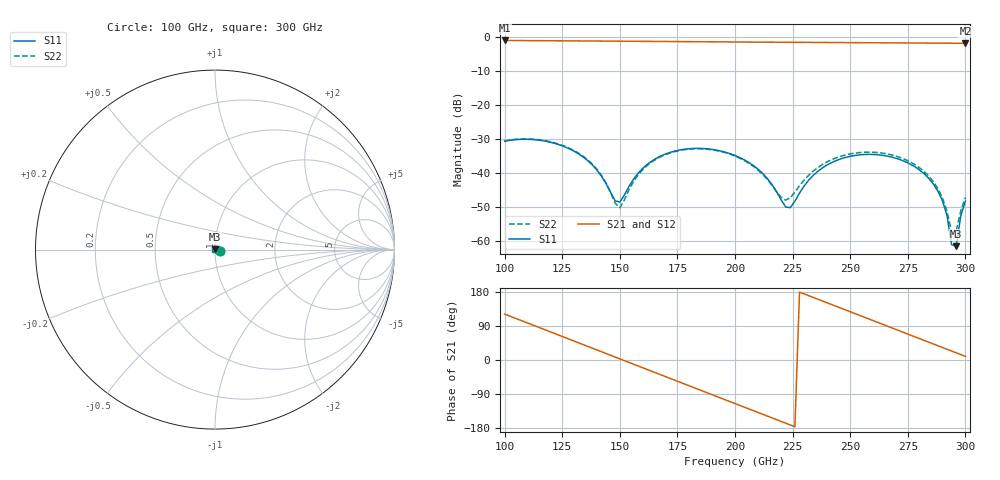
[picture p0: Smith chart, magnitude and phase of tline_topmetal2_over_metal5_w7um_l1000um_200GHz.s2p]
#  GHZ S DB R 50
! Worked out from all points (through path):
!   101 points, 100 GHz to 300 GHz, reference 50 ohm
!   highest |S21| = -0.97 dB at 100 GHz (marker M1); lowest = -1.8 dB at 300 GHz (marker M2)
!   group delay of S21, straight-line fit = 6.55 ps
!   lowest |S11| = -61.6 dB at 296 GHz (marker M3), VSWR 1.00, Z = 50.1 + j0.0611 ohm
!   |S11| at or under -10 dB: start of sweep to end of sweep
!   |S22| runs from -57.4 to -30.0 dB; largest |S21 - S12| = 1.6e-13
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100  -30.67 -12.2  -0.97 121.2  -0.97 121.2  -30.59 -13.1
116  -30.46 -44.5  -1.04 83.4  -1.04 83.4  -30.33 -45.8
134  -35.27 -77.7  -1.12 40.9  -1.12 40.9  -35.06 -80.4
142  -40.94 -83.7  -1.15 21.9  -1.15 21.9  -40.68 -88.9
148  -48.22 -52.1  -1.17 7.8  -1.17 7.8  -48.93 -63.2
150  -48.61 -22.2  -1.18 3.0  -1.18 3.0  -50.26 -28.8
158  -40.05 15.6  -1.22 -15.9  -1.22 -15.9  -40.55 17.3
168  -34.96 3.3  -1.27 -39.5  -1.27 -39.5  -35.16 4.2
184  -32.77 -27.6  -1.34 -77.3  -1.34 -77.3  -32.88 -27.1
200  -34.87 -58.6  -1.41 -115.0  -1.41 -115.0  -35.04 -57.2
212  -40.15 -75.5  -1.47 -143.2  -1.47 -143.2  -40.45 -70.6
222  -50.05 -42.6  -1.50 -166.7  -1.50 -166.7  -48.04 -27.2
224  -50.25 -15.2  -1.51 -171.4  -1.51 -171.4  -47.32 -7.6
234  -40.70 20.9  -1.55 165.0  -1.55 165.0  -39.45 15.9
252  -34.87 -9.3  -1.61 122.6  -1.61 122.6  -34.17 -13.2
268  -35.34 -43.7  -1.68 84.9  -1.68 84.9  -34.71 -46.9
286  -43.18 -82.4  -1.75 42.5  -1.75 42.5  -42.49 -82.4
292  -52.46 -90.4  -1.77 28.4  -1.77 28.4  -51.29 -81.0
294  -61.17 -79.8  -1.78 23.7  -1.78 23.7  -57.38 -56.1
296  -61.60 47.2  -1.79 19.0  -1.79 19.0  -57.18 15.5
298  -52.68 58.9  -1.79 14.3  -1.79 14.3  -51.16 39.1
300  -48.33 57.8  -1.80 9.6  -1.80 9.6  -47.25 43.1
